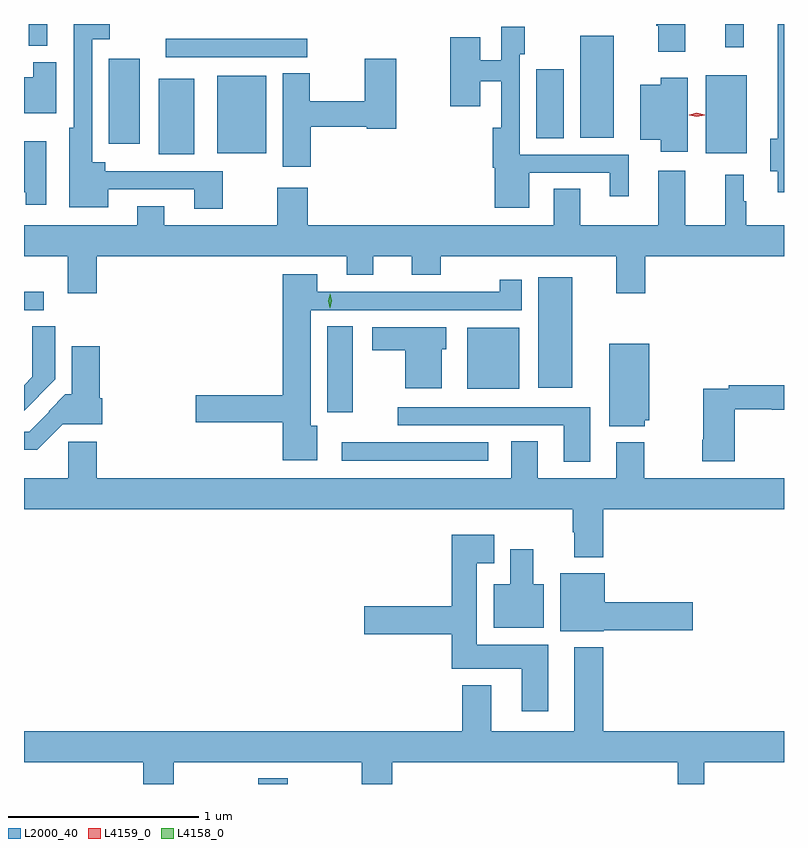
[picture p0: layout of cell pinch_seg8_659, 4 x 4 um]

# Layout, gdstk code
import gdstk
lib = gdstk.Library(unit=1e-6, precision=1e-09)
def R(c, l, rs):  # rectangles x0, y0, x1, y1
    for r in rs: c.add(gdstk.rectangle(r[:2], r[2:], *l))
def P(c, l, *ps):  # polygons
    for p in ps: c.add(gdstk.Polygon(p, *l))
L2000_40 = (2000, 40)
L4158_0 = (4158, 0)
L4159_0 = (4159, 0)

pinch_seg8_659 = lib.new_cell('pinch_seg8_659')
R(pinch_seg8_659, L2000_40, [(243.364,1119.05,243.519,1119.079), (243.804,1120.752,244.576,1120.848), (243.728,1121.007,243.862,1121.459), (244.466,1121.129,244.738,1121.452), (244.838,1121.135,245.017,1121.716), (242.132,1121.544,242.236,1121.64), (242.84,1122.365,243.028,1122.763), (243.149,1122.371,243.406,1122.778), (245.72,1122.371,245.935,1122.781), (242.579,1122.42,242.74,1122.868), (244.829,1122.448,244.972,1122.811), (245.06,1122.452,245.236,1122.988), (242.877,1122.876,243.622,1122.972), (245.822,1122.927,245.921,1123.05), (242.156,1122.935,242.254,1123.05)])
P(pinch_seg8_659, L2000_40, [(245.611,1123.05),(245.459,1123.05),(245.459,1123.04),(245.471,1123.04),(245.471,1122.903),(245.611,1122.903)],
  [(246.132,1123.05),(246.098,1123.05),(246.098,1122.446),(246.059,1122.446),(246.059,1122.275),(246.098,1122.275),(246.098,1122.164),(246.132,1122.164)],
  [(243.177,1122.276),(242.56,1122.276),(242.56,1122.322),(242.49,1122.322),(242.49,1122.969),(242.584,1122.969),(242.584,1123.05),(242.394,1123.05),(242.394,1122.504),(242.369,1122.504),(242.369,1122.086),(242.575,1122.086),(242.575,1122.18),(243.029,1122.18),(243.029,1122.078),(243.177,1122.078)],
  [(244.792,1122.267),(245.216,1122.267),(245.216,1122.144),(245.314,1122.144),(245.314,1122.363),(244.74,1122.363),(244.74,1122.891),(244.767,1122.891),(244.767,1123.036),(244.644,1123.036),(244.644,1122.859),(244.534,1122.859),(244.534,1122.979),(244.376,1122.979),(244.376,1122.618),(244.534,1122.618),(244.534,1122.748),(244.644,1122.748),(244.644,1122.505),(244.598,1122.505),(244.598,1122.294),(244.61,1122.294),(244.61,1122.083),(244.792,1122.083)],
  [(243.641,1122.508),(243.936,1122.508),(243.936,1122.5),(244.09,1122.5),(244.09,1122.868),(243.925,1122.868),(243.925,1122.644),(243.636,1122.644),(243.636,1122.791),(243.494,1122.791),(243.494,1122.3),(243.641,1122.3)],
  [(242.302,1122.85),(242.18,1122.85),(242.18,1122.769),(242.132,1122.769),(242.132,1122.581),(242.302,1122.581)],
  [(245.626,1122.766),(245.483,1122.766),(245.483,1122.73),(245.375,1122.73),(245.375,1122.44),(245.483,1122.44),(245.483,1122.378),(245.626,1122.378)],
  [(242.25,1122.433),(242.132,1122.433),(242.132,1122.164),(242.142,1122.164),(242.142,1122.099),(242.25,1122.099)],
  [(242.516,1121.828),(243.83,1121.828),(243.83,1121.729),(243.97,1121.729),(243.97,1121.828),(244.172,1121.828),(244.172,1121.729),(244.325,1121.729),(244.325,1121.828),(245.249,1121.828),(245.249,1121.634),(245.402,1121.634),(245.402,1121.828),(246.132,1121.828),(246.132,1121.992),(245.932,1121.992),(245.932,1122.116),(245.92,1122.116),(245.92,1122.256),(245.822,1122.256),(245.822,1121.992),(245.611,1121.992),(245.611,1122.277),(245.471,1122.277),(245.471,1121.992),(245.059,1121.992),(245.059,1122.182),(244.919,1122.182),(244.919,1121.992),(243.626,1121.992),(243.626,1122.187),(243.466,1122.187),(243.466,1121.992),(242.869,1121.992),(242.869,1122.091),(242.729,1122.091),(242.729,1121.992),(242.132,1121.992),(242.132,1121.828),(242.363,1121.828),(242.363,1121.634),(242.516,1121.634)],
  [(243.676,1120.936),(243.64,1120.936),(243.64,1121.544),(244.753,1121.544),(244.753,1121.704),(244.636,1121.704),(244.636,1121.642),(244.408,1121.642),(244.408,1121.64),(243.676,1121.64),(243.676,1121.734),(243.494,1121.734),(243.494,1121.096),(243.036,1121.096),(243.036,1120.954),(243.494,1120.954),(243.494,1120.754),(243.676,1120.754)],
  [(242.209,1121.091),(242.208,1121.091),(242.296,1121.179),(242.296,1121.459),(242.175,1121.459),(242.175,1121.193),(242.132,1121.15),(242.132,1121.014)],
  [(244.33,1121.337),(244.354,1121.337),(244.354,1121.455),(243.966,1121.455),(243.966,1121.333),(244.139,1121.333),(244.139,1121.132),(244.33,1121.132)],
  [(245.4,1120.965),(245.422,1120.965),(245.422,1121.368),(245.213,1121.368),(245.213,1120.934),(245.4,1120.934)],
  [(242.337,1120.944),(242.544,1120.944),(242.544,1121.079),(242.531,1121.079),(242.531,1121.353),(242.384,1121.353),(242.384,1121.101),(242.35,1121.101),(242.262,1121.013),(242.265,1121.01),(242.16,1120.905),(242.132,1120.905),(242.132,1120.808),(242.201,1120.808)],
  [(245.874,1121.022),(246.068,1121.022),(246.068,1121.021),(246.132,1121.021),(246.132,1121.15),(245.842,1121.15),(245.842,1121.13),(245.708,1121.13),(245.708,1120.861),(245.701,1120.861),(245.701,1120.749),(245.874,1120.749)],
  [(245.113,1121.034),(244.098,1121.034),(244.098,1120.938),(244.973,1120.938),(244.973,1120.746),(245.113,1120.746)],
  [(245.18,1120.496),(246.132,1120.496),(246.132,1120.66),(245.397,1120.66),(245.397,1120.849),(245.249,1120.849),(245.249,1120.66),(244.837,1120.66),(244.837,1120.853),(244.697,1120.853),(244.697,1120.66),(242.516,1120.66),(242.516,1120.851),(242.365,1120.851),(242.365,1120.66),(242.132,1120.66),(242.132,1120.496),(245.02,1120.496),(245.02,1120.376),(245.027,1120.376),(245.027,1120.244),(245.18,1120.244)],
  [(244.891,1119.784),(244.516,1119.784),(244.516,1120.211),(244.606,1120.211),(244.606,1120.363),(244.382,1120.363),(244.382,1119.986),(243.924,1119.986),(243.924,1119.839),(244.382,1119.839),(244.382,1119.656),(244.751,1119.656),(244.751,1119.432),(244.891,1119.432)],
  [(244.867,1120.102),(244.813,1120.102),(244.813,1120.285),(244.691,1120.285),(244.691,1120.102),(244.604,1120.102),(244.604,1119.872),(244.867,1119.872)],
  [(245.184,1119.86),(245.653,1119.86),(245.653,1120.007),(245.188,1120.007),(245.188,1120.159),(244.955,1120.159),(244.955,1119.854),(245.184,1119.854)],
  [(242.919,1119.164),(243.91,1119.164),(243.91,1119.05),(244.07,1119.05),(244.07,1119.164),(245.573,1119.164),(245.573,1119.05),(245.712,1119.05),(245.712,1119.164),(246.132,1119.164),(246.132,1119.328),(245.18,1119.328),(245.18,1119.769),(245.027,1119.769),(245.027,1119.328),(244.591,1119.328),(244.591,1119.571),(244.439,1119.571),(244.439,1119.328),(242.132,1119.328),(242.132,1119.164),(242.759,1119.164),(242.759,1119.05),(242.919,1119.05)])
P(pinch_seg8_659, L4158_0, [(243.742,1121.557),(243.733,1121.593),(243.743,1121.629),(243.744,1121.629),(243.744,1121.629),(243.753,1121.593),(243.743,1121.557),(243.743,1121.557)])
P(pinch_seg8_659, L4159_0, [(245.674,1122.562),(245.633,1122.571),(245.633,1122.572),(245.633,1122.572),(245.674,1122.582),(245.714,1122.572),(245.714,1122.572),(245.714,1122.571)])

lib.write_gds('pinch_seg8_659.gds')
